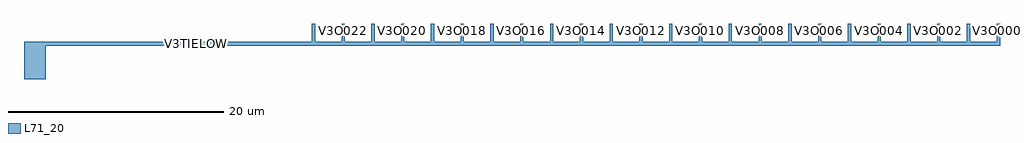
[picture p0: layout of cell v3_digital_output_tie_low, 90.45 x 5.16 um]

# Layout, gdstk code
import gdstk
lib = gdstk.Library(unit=1e-6, precision=1e-09)
def R(c, l, rs):  # rectangles x0, y0, x1, y1
    for r in rs: c.add(gdstk.rectangle(r[:2], r[2:], *l))
def A(c, l, x, y, w, h, nx, ny, dx, dy):  # array of equal rectangles
    R(c, l, [(x+i*dx, y+j*dy, x+i*dx+w, y+j*dy+h) for i in range(nx) for j in range(ny)])
L71_20 = (71, 20)

v3_digital_output_tie_lo = lib.new_cell('v3_digital_output_tie_low')
A(v3_digital_output_tie_lo, L71_20, 30.67, 223.7, 0.3, 2.06, 24, 1, 2.76, 0)
R(v3_digital_output_tie_lo, L71_20, [(4,220.6,6,224.1), (5,223.7,94.45,224.1)])
v3_digital_output_tie_lo.add(gdstk.Label('V3TIELOW', (20,223.9), layer=71, texttype=5))
v3_digital_output_tie_lo.add(gdstk.Label('V3O000', (94.3,225.1), layer=71, texttype=5))
v3_digital_output_tie_lo.add(gdstk.Label('V3O001', (91.54,225.1), layer=71, texttype=5))
v3_digital_output_tie_lo.add(gdstk.Label('V3O002', (88.78,225.1), layer=71, texttype=5))
v3_digital_output_tie_lo.add(gdstk.Label('V3O003', (86.02,225.1), layer=71, texttype=5))
v3_digital_output_tie_lo.add(gdstk.Label('V3O004', (83.26,225.1), layer=71, texttype=5))
v3_digital_output_tie_lo.add(gdstk.Label('V3O005', (80.5,225.1), layer=71, texttype=5))
v3_digital_output_tie_lo.add(gdstk.Label('V3O006', (77.74,225.1), layer=71, texttype=5))
v3_digital_output_tie_lo.add(gdstk.Label('V3O007', (74.98,225.1), layer=71, texttype=5))
v3_digital_output_tie_lo.add(gdstk.Label('V3O008', (72.22,225.1), layer=71, texttype=5))
v3_digital_output_tie_lo.add(gdstk.Label('V3O009', (69.46,225.1), layer=71, texttype=5))
v3_digital_output_tie_lo.add(gdstk.Label('V3O010', (66.7,225.1), layer=71, texttype=5))
v3_digital_output_tie_lo.add(gdstk.Label('V3O011', (63.94,225.1), layer=71, texttype=5))
v3_digital_output_tie_lo.add(gdstk.Label('V3O012', (61.18,225.1), layer=71, texttype=5))
v3_digital_output_tie_lo.add(gdstk.Label('V3O013', (58.42,225.1), layer=71, texttype=5))
v3_digital_output_tie_lo.add(gdstk.Label('V3O014', (55.66,225.1), layer=71, texttype=5))
v3_digital_output_tie_lo.add(gdstk.Label('V3O015', (52.9,225.1), layer=71, texttype=5))
v3_digital_output_tie_lo.add(gdstk.Label('V3O016', (50.14,225.1), layer=71, texttype=5))
v3_digital_output_tie_lo.add(gdstk.Label('V3O017', (47.38,225.1), layer=71, texttype=5))
v3_digital_output_tie_lo.add(gdstk.Label('V3O018', (44.62,225.1), layer=71, texttype=5))
v3_digital_output_tie_lo.add(gdstk.Label('V3O019', (41.86,225.1), layer=71, texttype=5))
v3_digital_output_tie_lo.add(gdstk.Label('V3O020', (39.1,225.1), layer=71, texttype=5))
v3_digital_output_tie_lo.add(gdstk.Label('V3O021', (36.34,225.1), layer=71, texttype=5))
v3_digital_output_tie_lo.add(gdstk.Label('V3O022', (33.58,225.1), layer=71, texttype=5))
v3_digital_output_tie_lo.add(gdstk.Label('V3O023', (30.82,225.1), layer=71, texttype=5))

lib.write_gds('v3_digital_output_tie_low.gds')
